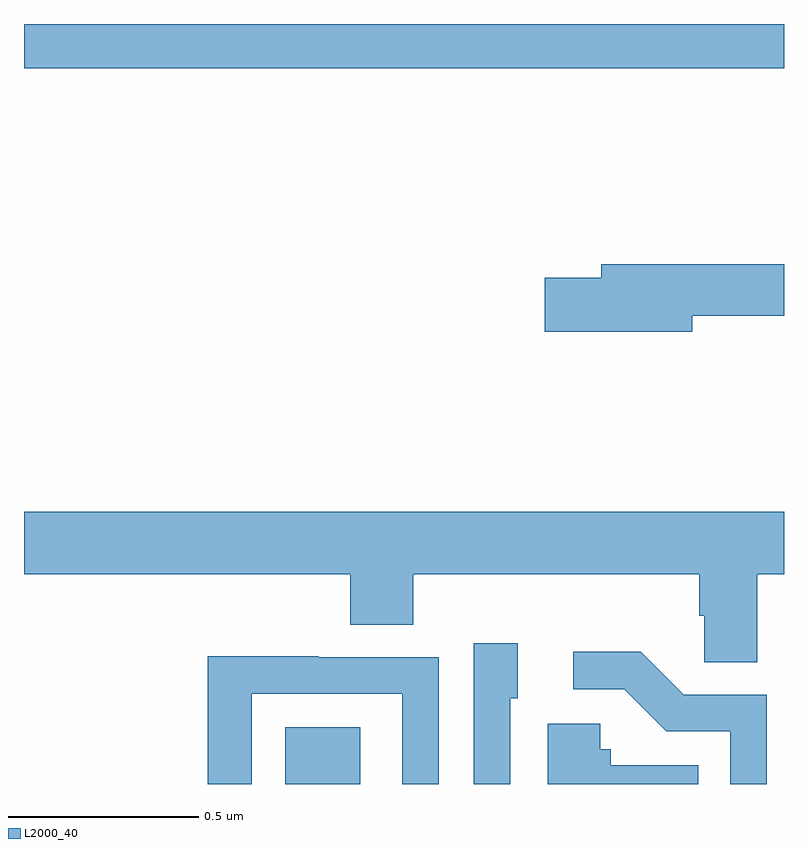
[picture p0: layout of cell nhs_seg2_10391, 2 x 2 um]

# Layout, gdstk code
import gdstk
lib = gdstk.Library(unit=1e-6, precision=1e-09)
def R(c, l, rs):  # rectangles x0, y0, x1, y1
    for r in rs: c.add(gdstk.rectangle(r[:2], r[2:], *l))
def P(c, l, *ps):  # polygons
    for p in ps: c.add(gdstk.Polygon(p, *l))
L2000_40 = (2000, 40)

nhs_seg2_10391 = lib.new_cell('nhs_seg2_10391')
R(nhs_seg2_10391, L2000_40, [(241.688,597.8,241.885,597.949), (241,599.684,243,599.8)])
P(nhs_seg2_10391, L2000_40, [(242.758,599.032),(243,599.032),(243,599.168),(242.519,599.168),(242.519,599.132),(242.37,599.132),(242.37,598.99),(242.758,598.99)],
  [(242.929,598.352),(243,598.352),(243,598.516),(241,598.516),(241,598.352),(241.859,598.352),(241.859,598.219),(242.024,598.219),(242.024,598.352),(242.777,598.352),(242.777,598.243),(242.79,598.243),(242.79,598.12),(242.929,598.12)],
  [(242.28,598.026),(242.299,598.026),(242.299,598.171),(242.184,598.171),(242.184,597.8),(242.28,597.8)],
  [(242.955,598.035),(242.736,598.035),(242.623,598.148),(242.445,598.148),(242.445,598.05),(242.579,598.05),(242.69,597.939),(242.859,597.939),(242.859,597.8),(242.955,597.8)],
  [(241.599,598.038),(241.995,598.038),(241.995,597.8),(242.091,597.8),(242.091,598.134),(241.775,598.134),(241.775,598.136),(241.483,598.136),(241.483,597.8),(241.599,597.8)],
  [(242.774,597.85),(242.544,597.85),(242.544,597.891),(242.517,597.891),(242.517,597.958),(242.378,597.958),(242.378,597.8),(242.774,597.8)])

lib.write_gds('nhs_seg2_10391.gds')
